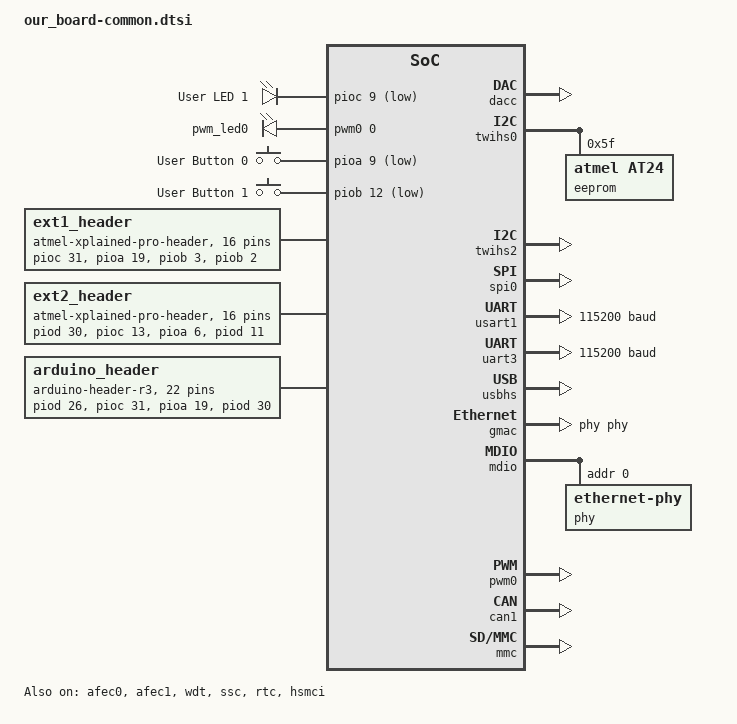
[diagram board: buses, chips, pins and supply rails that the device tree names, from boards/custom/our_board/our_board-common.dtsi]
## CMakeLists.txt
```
cmake_minimum_required(VERSION 3.20.0)

list(APPEND BOARD_ROOT ${CMAKE_CURRENT_SOURCE_DIR})
list(APPEND DTS_ROOT   ${CMAKE_CURRENT_SOURCE_DIR})
find_package(Zephyr REQUIRED)
project(my_zephyr_app)

set(SUBSYSTEM_SOURCES "")
if(CONFIG_LED_SUBSYSTEM)
list(APPEND SUBSYSTEM_SOURCES
    subsys/LED/led_subsystem.c
    subsys/Heartbeat/heartbeat.c
)
endif()

if(CONFIG_LED_SENSOR)
list(APPEND SUBSYSTEM_SOURCES
    drivers/sensor/led_sensor/led_sensor.c
    src/shell_commands.c
)
endif()

target_sources(app PRIVATE
    src/main.c
    ${SUBSYSTEM_SOURCES}
)

target_include_directories(app PRIVATE
    include/
    subsys/
    drivers/sensor/led_sensor/
)
```

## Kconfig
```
menu "Application Configuration"
    rsource "subsys/LED/Kconfig.LED"
    rsource "subsys/Heartbeat/Kconfig.Heartbeat"
    rsource "drivers/sensor/led_sensor/Kconfig"
endmenu

menu "Zephyr Configuration"
    source "Kconfig.zephyr"
endmenu
```

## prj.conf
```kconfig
CONFIG_GPIO=y
CONFIG_LOG=y
CONFIG_SENSOR=y
CONFIG_LED_SENSOR=y
CONFIG_SHELL=y

CONFIG_PWM=y
CONFIG_LED_SUBSYSTEM=y
CONFIG_LED_SUBSYSTEM_BLINK_2S=y
CONFIG_LED_SUBSYSTEM_ADVANCED_SETTINGS=y
CONFIG_LED_SUBSYSTEM_ADV_BRIGHTNESS=95
CONFIG_LED_SUBSYSTEM_ADV_FADE_DURATION=100
CONFIG_LED_SUBSYSTEM_DEBUG=y
CONFIG_LED_SUBSYSTEM_CUSTOM_PATTERN=y
```

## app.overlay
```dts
/ {
	aliases {
        /*      You can't define an alias for an alias, as the homework asks.
                app-led = &led0; is gonna fail to build.
                my board has led0 defined as this led, so I setted up here, but maybe your board don't have it.
        */
		app-led = &yellow_led1;
	};

	led_sensor0: led_sensor {
		compatible = "led-sensor";
		gpios = <&pioa 23 GPIO_ACTIVE_LOW>;
		status = "okay";
	};
};
```

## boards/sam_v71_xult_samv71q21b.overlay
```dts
/ {
	aliases {
		app-led = &yellow_led1;
	};

	led_sensor0: led_sensor {
		compatible = "led-sensor";
		gpios = <&pioa 23 GPIO_ACTIVE_LOW>;
		status = "okay";
	};
};

&yellow_led0 {
	status = "disabled";
};
```

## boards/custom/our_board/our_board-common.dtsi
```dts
/*
 * Copyright (c) 2017 Piotr Mienkowski
 * Copyright (c) 2017 Justin Watson
 * Copyright (c) 2020 Stephanos Ioannidis <root@stephanos.io>
 * Copyright (c) 2019-2024 Gerson Fernando Budke <nandojve@gmail.com>
 *
 * SPDX-License-Identifier: Apache-2.0
 */

#include "our_board-pinctrl.dtsi"
#include <zephyr/dt-bindings/gpio/arduino-header-r3.h>
#include <zephyr/dt-bindings/input/input-event-codes.h>

/ {
	aliases {
		i2c-0 = &twihs0;
		i2c-1 = &twihs2;
		led0 = &yellow_led1;
		pwm-led0 = &pwm_led0;
		pwm-0 = &pwm0;
		rtc = &rtc;
		sw0 = &sw0_user_button;
		sw1 = &sw1_user_button;
		watchdog0 = &wdt;
		sdhc0 = &hsmci;
	};

	chosen {
		zephyr,console = &usart1;
		zephyr,shell-uart = &usart1;
		zephyr,sram = &sram0;
		zephyr,flash = &flash0;
		zephyr,code-partition = &slot0_partition;
		zephyr,canbus = &can1;
	};

	leds {
		compatible = "gpio-leds";

		yellow_led0: led_0 {
			gpios = <&pioa 23 GPIO_ACTIVE_LOW>;
			label = "User LED 0";
			status = "disabled";
		};

		yellow_led1: led_1 {
			gpios = <&pioc 9 GPIO_ACTIVE_LOW>;
			label = "User LED 1";
		};
	};

	pwmleds {
		compatible = "pwm-leds";

		pwm_led0: pwm_led_0 {
			pwms = <&pwm0 0 PWM_MSEC(20) PWM_POLARITY_INVERTED>;
		};
	};

	gpio_keys {
		compatible = "gpio-keys";

		/* The switch is labeled SW300/301 in the schematic, and
		 * labeled SW0 on the board, and labeled ERASE User Button
		 * on docs
		 */
		sw0_user_button: button_1 {
			label = "User Button 0";
			gpios = <&pioa 9 (GPIO_PULL_UP | GPIO_ACTIVE_LOW)>;
			zephyr,code = <INPUT_KEY_0>;
		};

		sw1_user_button: button_2 {
			label = "User Button 1";
			gpios = <&piob 12 (GPIO_PULL_UP | GPIO_ACTIVE_LOW)>;
			zephyr,code = <INPUT_KEY_1>;
		};
	};

	ext1_header: xplained-pro-connector1 {
		compatible = "atmel-xplained-pro-header";
		#gpio-cells = <2>;
		gpio-map-mask = <0xffffffff 0xffffffc0>;
		gpio-map-pass-thru = <0 0x3f>;

		/* dts-format off */
					      /*           Shared */
		gpio-map = <0  0 &pioc 31 0>, /* AFE1 AD6         */
			   <1  0 &pioa 19 0>, /* AFE0 AD8         */
			   <2  0 &piob  3 0>, /* RTS0             */
			   <3  0 &piob  2 0>, /* CTS0             */
			   <4  0 &pioa  0 0>, /* PWMC0_H0         */
			   <5  0 &pioc 30 0>, /* TIOB5            */
			   <6  0 &piod 28 0>, /* WKUP5            */
			   <7  0 &pioa  5 0>, /* GPIO             */
			   <8  0 &pioa  3 0>, /* TWD0        EXT2 */
			   <9  0 &pioa  4 0>, /* TWCK0       EXT2 */
			   <10 0 &piob  0 0>, /* RXD0             */
			   <11 0 &piob  1 0>, /* TXD0             */
			   <12 0 &piod 25 0>, /* SPI0(NPCS1)      */
			   <13 0 &piod 21 0>, /* SPI0(MOSI)  EXT2 */
			   <14 0 &piod 20 0>, /* SPI0(MISO)  EXT2 */
			   <15 0 &piod 22 0>; /* SPI0(SCK)   EXT2 */
					      /* GND              */
					      /* +3.3V            */
		/* dts-format on */
	};

	ext2_header: xplained-pro-connector2 {
		compatible = "atmel-xplained-pro-header";
		#gpio-cells = <2>;
		gpio-map-mask = <0xffffffff 0xffffffc0>;
		gpio-map-pass-thru = <0 0x3f>;

		/* dts-format off */
					      /*           Shared */
		gpio-map = <0  0 &piod 30 0>, /* AFE0 AD0         */
			   <1  0 &pioc 13 0>, /* AFE1 AD1         */
			   <2  0 &pioa  6 0>, /* GPIO             */
			   <3  0 &piod 11 0>, /* GPIO             */
			   <4  0 &pioc 19 0>, /* PWMC0_H2         */
			   <5  0 &piod 26 0>, /* PWMC0_L2         */
			   <6  0 &pioa  2 0>, /* WKUP2            */
			   <7  0 &pioa 24 0>, /* GPIO             */
			   <8  0 &pioa  3 0>, /* TWD0        EXT1 */
			   <9  0 &pioa  4 0>, /* TWCK0       EXT1 */
			   <10 0 &pioa 21 0>, /* RXD1             */
			   <11 0 &piob  4 0>, /* TXD1             */
			   <12 0 &piod 27 0>, /* SPI0(NPCS3)      */
			   <13 0 &piod 21 0>, /* SPI0(MOSI)  EXT1 */
			   <14 0 &piod 20 0>, /* SPI0(MISO)  EXT1 */
			   <15 0 &piod 22 0>; /* SPI0(SCK)   EXT1 */
					      /* GND              */
					      /* +3.3V            */
		/* dts-format on */
	};

	arduino_header: connector {
		compatible = "arduino-header-r3";
		#gpio-cells = <2>;
		gpio-map-mask = <0xffffffff 0xffffffc0>;
		gpio-map-pass-thru = <0 0x3f>;

		/* dts-format off */
								 /*        Shared */
		gpio-map = <ARDUINO_HEADER_R3_A0  0 &piod 26 0>, /* TD            */
			   <ARDUINO_HEADER_R3_A1  0 &pioc 31 0>, /* AFE1 AD6    y */
			   <ARDUINO_HEADER_R3_A2  0 &pioa 19 0>, /* AFE0 AD8    y */
			   <ARDUINO_HEADER_R3_A3  0 &piod 30 0>, /* AFE0 AD0    y */
			   <ARDUINO_HEADER_R3_A4  0 &pioc 13 0>, /* AFE1 AD1    y */
			   <ARDUINO_HEADER_R3_A5  0 &pioe  0 0>, /* AFE1 AD11     */
			   <ARDUINO_HEADER_R3_D0  0 &piod 28 0>, /* URXD3         */
			   <ARDUINO_HEADER_R3_D1  0 &piod 30 0>, /* UTXD3         */
			   <ARDUINO_HEADER_R3_D2  0 &pioa  0 0>, /* PWMC0_H0      */
			   <ARDUINO_HEADER_R3_D3  0 &pioa  6 0>, /* GPIO          */
			   <ARDUINO_HEADER_R3_D4  0 &piod 27 0>, /* SPI0_NPCS3  y */
			   <ARDUINO_HEADER_R3_D5  0 &piod 11 0>, /* PWMC0_H0      */
			   <ARDUINO_HEADER_R3_D6  0 &pioc 19 0>, /* PWMC0_H2      */
			   <ARDUINO_HEADER_R3_D7  0 &pioa  2 0>, /* PWMC0_H1      */
			   <ARDUINO_HEADER_R3_D8  0 &pioa  5 0>, /* PWMC1_PWML3   */
			   <ARDUINO_HEADER_R3_D9  0 &pioc  9 0>, /* TIOB7         */
			   <ARDUINO_HEADER_R3_D10 0 &piod 25 0>, /* SPI0_NPCS1  y */
			   <ARDUINO_HEADER_R3_D11 0 &piod 21 0>, /* SPI0_MOSI   y */
			   <ARDUINO_HEADER_R3_D12 0 &piod 20 0>, /* SPI0_MISO   y */
			   <ARDUINO_HEADER_R3_D13 0 &piod 22 0>, /* SPI0_SPCK   y */
			   <ARDUINO_HEADER_R3_D14 0 &pioa  3 0>, /* TWD0        y */
			   <ARDUINO_HEADER_R3_D15 0 &pioa  4 0>; /* TWCK0       y */
		/* dts-format on */
	};
};

&cpu0 {
	clock-frequency = <300000000>;
};

&afec0 {
	status = "okay";

	pinctrl-0 = <&afec0_default>;
	pinctrl-names = "default";
};

&afec1 {
	status = "okay";

	pinctrl-0 = <&afec1_default>;
	pinctrl-names = "default";
};

&dacc {
	status = "okay";
};

&twihs0 {
	status = "okay";

	pinctrl-0 = <&twihs0_default>;
	pinctrl-names = "default";

	eeprom: eeprom@5f {
		compatible = "atmel,at24", "atmel,24mac402";
		reg = <0x5f>;
		size = <256>;
		pagesize = <16>;
		address-width = <8>;
		timeout = <5>;

		nvmem-layout {
			compatible = "fixed-layout";
			#address-cells = <1>;
			#size-cells = <1>;

			mac_address: mac-address@9a {
				reg = <0x9a 6>;
				#nvmem-cell-cells = <0>;
			};
		};
	};
};

&twihs2 {
	status = "okay";

	pinctrl-0 = <&twihs2_default>;
	pinctrl-names = "default";
};

&spi0 {
	status = "okay";

	pinctrl-0 = <&spi0_default>;
	pinctrl-names = "default";

	cs-gpios = <&piod 25 GPIO_ACTIVE_LOW>,
		   <&piod 27 GPIO_ACTIVE_LOW>;

	dmas = <&xdmac 1 DMA_PERID_SPI0_TX>, <&xdmac 2 DMA_PERID_SPI0_RX>;
	dma-names = "tx", "rx";
};

&usart1 {
	status = "okay";
	current-speed = <115200>;

	pinctrl-0 = <&usart1_default>;
	pinctrl-names = "default";
};

&uart3 {
	status = "okay";
	current-speed = <115200>;

	pinctrl-0 = <&uart3_default>;
	pinctrl-names = "default";
};

&wdt {
	status = "okay";
};

zephyr_udc0: &usbhs {
	status = "okay";
};

&gmac {
	status = "okay";

	pinctrl-0 = <&gmac_rmii>;
	pinctrl-names = "default";

	nvmem-cells = <&mac_address>;
	nvmem-cell-names = "mac-address";
	phy-handle = <&phy>;
};

&mdio {
	status = "okay";

	pinctrl-0 = <&mdio_default>;
	pinctrl-names = "default";

	phy: ethernet-phy@0 {
		compatible = "ethernet-phy";
		status = "okay";
		reg = <0>;
	};
};

&pwm0 {
	status = "okay";

	pinctrl-0 = <&pwm_default>;
	pinctrl-names = "default";
};

&pioa {
	status = "okay";
};

&piob {
	status = "okay";
};

&pioc {
	status = "okay";
};

&piod {
	status = "okay";
};

&pioe {
	status = "okay";
};

&flash0 {
	partitions {
		compatible = "fixed-partitions";
		#address-cells = <1>;
		#size-cells = <1>;

		/*
		 * The first half of sector 0 (64 kbytes)
		 * is reserved for the bootloader
		 */
		boot_partition: partition@0 {
			label = "mcuboot";
			reg = <0x0 0x00010000>;
			read-only;
		};

		/* From sector 1 to sector 7 (included): slot0 (896 kbytes) */
		slot0_partition: partition@20000 {
			label = "image-0";
			reg = <0x00020000 0x000e0000>;
		};

		/* From sector 8 to sector 14 (included): slot1 (896 kbytes) */
		slot1_partition: partition@100000 {
			label = "image-1";
			reg = <0x00100000 0x000e0000>;
		};

		/* Sector 15: scratch (128 kbytes) */
		scratch_partition: partition@1e0000 {
			label = "image-scratch";
			reg = <0x001e0000 0x00020000>;
		};
	};
};

&ssc {
	status = "okay";

	pinctrl-0 = <&ssc_default>;
	pinctrl-names = "default";

	dma-names = "rx", "tx";
	dmas = <&xdmac 22 DMA_PERID_SSC_RX>, <&xdmac 23 DMA_PERID_SSC_TX>;
};

&can1 {
	status = "okay";

	pinctrl-0 = <&can1_default>;
	pinctrl-names = "default";

	can-transceiver {
		max-bitrate = <5000000>;
	};
};

&rtc {
	status = "okay";
};

&hsmci {
	status = "okay";

	pinctrl-names = "default";
	pinctrl-0 = <&hsmci_default>;
	cd-gpios = <&piod 18 GPIO_ACTIVE_LOW>;

	mmc {
		compatible = "zephyr,sdmmc-disk";
		disk-name = "SD";
		status = "okay";
	};
};

ext1_spi: &spi0 {};

ext1_i2c: &twihs0 {};

ext1_serial: &usart0 {};

ext2_spi: &spi0 {};

ext2_i2c: &twihs0 {};

ext2_serial: &usart1 {};

arduino_spi: &spi0 {};

arduino_i2c: &twihs0 {};

arduino_serial: &uart3 {};
```

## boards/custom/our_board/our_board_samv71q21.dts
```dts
/*
 * Copyright (c) 2017 Piotr Mienkowski
 * Copyright (c) 2017 Justin Watson
 * Copyright (c) 2020-2024 Gerson Fernando Budke <nandojve@gmail.com>
 *
 * SPDX-License-Identifier: Apache-2.0
 */

/dts-v1/;

#include <atmel/samv71x21.dtsi>
#include "our_board-common.dtsi"

/ {
	model = "Atmel SAM V71 Xplained Ultra custom board";
	compatible = "our_board", "atmel,sam_v71_xult", "atmel,samv71q21", "atmel,samv71";
};

&yellow_led0 {
	status = "disabled";
};
```

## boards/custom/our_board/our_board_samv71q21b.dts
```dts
/*
 * Copyright (c) 2020 Stephanos Ioannidis <root@stephanos.io>
 * Copyright (c) 2020-2024 Gerson Fernando Budke <nandojve@gmail.com>
 *
 * SPDX-License-Identifier: Apache-2.0
 */

/dts-v1/;

#include <atmel/samv71x21b.dtsi>
#include "our_board-common.dtsi"

/ {
	model = "Atmel SAM V71B Xplained Ultra custom board";
	compatible = "our_board", "atmel,sam_v71_xult", "atmel,samv71q21b", "atmel,samv71b";
};

&yellow_led0 {
	status = "disabled";
};
```

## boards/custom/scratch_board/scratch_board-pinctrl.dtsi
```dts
/*
 * Copyright (c) 2022, Gerson Fernando Budke <nandojve@gmail.com>
 * SPDX-License-Identifier: Apache-2.0
 */

#include <dt-bindings/pinctrl/samv71q-pinctrl.h>

&pinctrl {

	usart1_default: usart1_default {
		group1 {
			pinmux = <PA21A_USART1_RXD>,
				 <PB4D_USART1_TXD>;
		};
	};

	usart1_hw_ctrl_flow: usart1_hw_ctrl_flow {
		group1 {
			pinmux = <PA21A_USART1_RXD>,
				 <PA24A_USART1_RTS>;
			bias-pull-up;
		};

		group2 {
			pinmux = <PB4D_USART1_TXD>,
				 <PA25A_USART1_CTS>;
		};
	};
	pwm_default: pwm_default {
		group1 {
			pinmux = <PA0A_PWMC0_PWMH0>,
				 <PC19B_PWMC0_PWMH2>,
				 <PD26A_PWMC0_PWML2>,
				 <PA23B_PWMC0_PWMH0>;
		};
	};
};
```

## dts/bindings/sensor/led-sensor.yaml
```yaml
description: Simple on-board LED used as a sensor device

compatible: "led-sensor"

include: base.yaml

properties:
  gpios:
    type: phandle-array
    required: true
    description: GPIO specifier for the LED pin
```

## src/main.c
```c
#include <zephyr/drivers/gpio.h>
#include <zephyr/kernel.h>
#include <zephyr/logging/log.h>
#include "Heartbeat/heartbeat.h"

#if CONFIG_LED_SUBSYSTEM
#include "LED/led_subsystem.h"
#include <zephyr/drivers/pwm.h>
#endif

#if CONFIG_LED_SENSOR
#include <zephyr/drivers/sensor.h>
#include "led_sensor.h"
#endif

LOG_MODULE_REGISTER(main, LOG_LEVEL_INF);

#define LED_NODE DT_ALIAS(app_led)
static const struct gpio_dt_spec hb_led = GPIO_DT_SPEC_GET(LED_NODE, gpios);

#define PWM_LED_NODE DT_ALIAS(pwm_led0)
#if CONFIG_LED_SUBSYSTEM
static const struct pwm_dt_spec pwm_led = PWM_DT_SPEC_GET(PWM_LED_NODE);
#endif

#if CONFIG_LED_SENSOR
static const struct device *led_sensor_dev = DEVICE_DT_GET(DT_NODELABEL(led_sensor0));
#endif

int main(void) {
        int ret = heartbeat_subsystem_init(&hb_led);
        if (ret < 0) {
                LOG_ERR("Failed to initialize Heartbeat subsystem: %d", ret);
                return ret;
        }

#if CONFIG_LED_SUBSYSTEM
        #ifndef CONFIG_LED_SUBSYSTEM_CUSTOM_PATTERN
        led_subsystem_init(&pwm_led);
        #else
        led_subsystem_init(&pwm_led, 1000, 80, 200);
        #endif
#endif

#if CONFIG_LED_SENSOR
        struct sensor_value val;

        if (!device_is_ready(led_sensor_dev)) {
                LOG_ERR("LED sensor device not ready");
        } else {
                sensor_sample_fetch(led_sensor_dev);
                k_sleep(K_MSEC(2000));
                sensor_channel_get(led_sensor_dev, SENSOR_CHAN_ALL, &val);
                k_sleep(K_MSEC(1000));

                led_sensor_set_state(led_sensor_dev, true);
                k_sleep(K_MSEC(2000));
                led_sensor_set_state(led_sensor_dev, false);
        }
#endif

        while (1) {
                k_sleep(K_FOREVER);
        }
        return 0;
}
```

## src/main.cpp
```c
#include <zephyr/drivers/gpio.h>
#include <zephyr/kernel.h>
#include <zephyr/logging/log.h>

#define SLEEP_TIME_MS 200

#define LED_NODE DT_ALIAS(led0)

static const struct gpio_dt_spec led = GPIO_DT_SPEC_GET(LED_NODE, gpios);

LOG_MODULE_REGISTER(main, LOG_LEVEL_INF);

int main(void)
{
    bool led_state = true;

    if (!gpio_is_ready_dt(&led))
        return 0;

    if (gpio_pin_configure_dt(&led, GPIO_OUTPUT_ACTIVE) < 0)
        return 0;

    while (1)
    {
        int ret = 0;
        if ((ret = gpio_pin_toggle_dt(&led)) < 0)
            return ret;

        led_state = !led_state;
        LOG_INF("LED state: %s", led_state ? "ON" : "OFF");
        k_msleep(SLEEP_TIME_MS);
    }
    return 0;
}
```

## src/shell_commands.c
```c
#include <stdlib.h>
#include <zephyr/device.h>
#include <zephyr/drivers/sensor.h>
#include <zephyr/shell/shell.h>
#include "led_sensor.h"

#if CONFIG_LED_SENSOR

static const struct device *led_sensor_dev = DEVICE_DT_GET(DT_NODELABEL(led_sensor0));

static int cmd_sensor_fetch(const struct shell *sh, size_t argc, char **argv)
{
	int ret = sensor_sample_fetch(led_sensor_dev);

	shell_print(sh, "sensor_sample_fetch returned %d", ret);
	return ret;
}

static int cmd_sensor_read(const struct shell *sh, size_t argc, char **argv)
{
	struct sensor_value val;
	int ret = sensor_channel_get(led_sensor_dev, SENSOR_CHAN_ALL, &val);

	if (ret == 0) {
		shell_print(sh, "val1=%d val2=%d", val.val1, val.val2);
	} else {
		shell_print(sh, "sensor_channel_get failed: %d", ret);
	}
	return ret;
}

static int cmd_sensor_info(const struct shell *sh, size_t argc, char **argv)
{
	shell_print(sh, "Device: %s", led_sensor_dev->name);
	shell_print(sh, "Ready:  %s", device_is_ready(led_sensor_dev) ? "yes" : "no");
	return 0;
}

static int cmd_sensor_set(const struct shell *sh, size_t argc, char **argv)
{
	char *end;
	long val = strtol(argv[1], &end, 10);

	if (*end != '\0' || (val != 0 && val != 1)) {
		shell_error(sh, "Invalid value '%s': expected 0 or 1", argv[1]);
		return -EINVAL;
	}

	int ret = led_sensor_set_state(led_sensor_dev, (bool)val);

	shell_print(sh, "led_sensor_set_state(%ld) returned %d", val, ret);
	return ret;
}

SHELL_STATIC_SUBCMD_SET_CREATE(sensor_cmds,
	SHELL_CMD(fetch, NULL, "Call sensor_sample_fetch()", cmd_sensor_fetch),
	SHELL_CMD(read,  NULL, "Call sensor_channel_get() and print result", cmd_sensor_read),
	SHELL_CMD(info,  NULL, "Print device name and ready state", cmd_sensor_info),
	SHELL_CMD_ARG(set, NULL, "Set LED state: sensor set <0|1>", cmd_sensor_set, 2, 0),
	SHELL_SUBCMD_SET_END
);

SHELL_CMD_REGISTER(sensor, &sensor_cmds, "LED sensor commands", NULL);

#endif /* CONFIG_LED_SENSOR */
```
